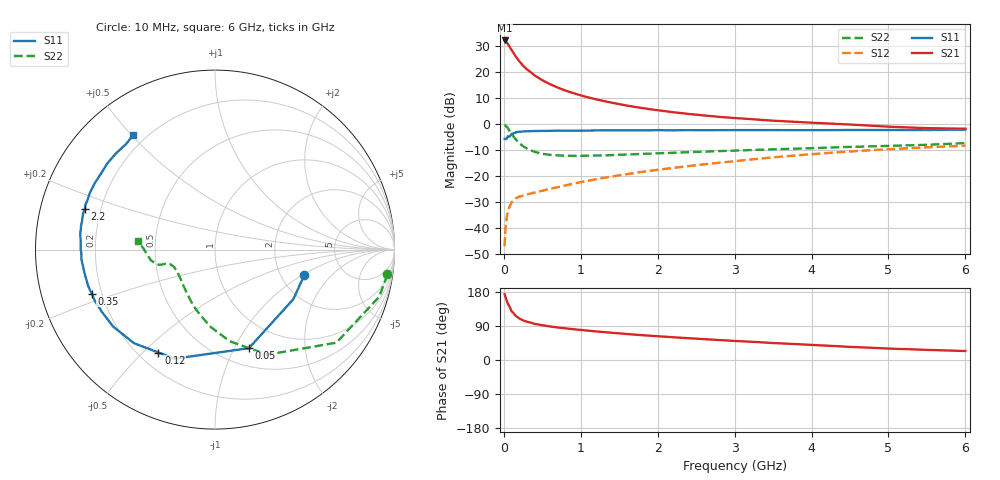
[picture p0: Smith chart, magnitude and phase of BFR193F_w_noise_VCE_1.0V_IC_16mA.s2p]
! Infineon Technologies  Discrete & RF Semiconductors
! BFR193F
! VCE =  1.0 V,  IC =  16 mA
! Common Emitter S-Parameters:  Jan 2017
# GHz  S  MA  R  50
!  f  S11  S21  S12  S22
! GHz  MAG  ANG  MAG  ANG  MAG  ANG  MAG  ANG
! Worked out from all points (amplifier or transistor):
!   77 points, 10 MHz to 6 GHz, reference 50 ohm
!   highest |S21| = 32.3 dB at 10 MHz (marker M1)
!   |S21| within 3 dB of that: start of sweep to 86.17 MHz
!   unconditionally stable (mu >= 1): 1.286 GHz to 3.06 GHz
!   at 130 MHz: K = 0.26, MSG = 28.3 dB, |S12| = -29.3 dB
!   at 2.2 GHz: K = 1.05, MAG = 9.4 dB, |S12| = -16.9 dB
!   at 6 GHz: K = 0.90, MSG = 3.3 dB, |S12| = -8.3 dB
!   lowest NFmin = 0.97 dB at 450 MHz
!   S11 on the Smith chart (normalised r, x): 10 MHz: 2.68, -1.05; 50 MHz: 0.69, -1.15; 120 MHz: 0.28, -0.56; 350 MHz: 0.16, -0.17; 2.2 GHz: 0.14, +0.15; 6 GHz: 0.15, +0.50
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0.01  0.5178 -16.0  41.14 173.7  0.0044 86.1  0.9708 -8.2
0.02  0.5165 -32.4  40.15 166.6  0.009 79.9  0.952 -16.0
0.05  0.5808 -71.0  35.89 149.0  0.0206 63.3  0.8522 -37.5
0.1  0.6481 -110.3  27.09 128.8  0.0307 49.3  0.6534 -63.6
0.12  0.6543 -118.8  24.39 124.9  0.033 46.7  0.5926 -69.6
0.15  0.6897 -130.9  20.63 117.2  0.0365 43.4  0.5169 -80.9
0.2  0.7113 -142.9  16.37 109.7  0.0398 39.5  0.4327 -93.0
0.25  0.7192 -151.0  13.44 104.7  0.0416 39.4  0.3732 -102.8
0.3  0.7276 -156.6  11.41 101.0  0.0438 39.6  0.338 -110.4
0.35  0.7298 -160.4  10.04 98.6  0.0457 41.1  0.3129 -115.9
0.4  0.7352 -164.1  8.699 95.4  0.0477 42.4  0.2911 -122.3
0.5  0.7379 -169.0  7.028 91.7  0.0516 45.0  0.2675 -130.9
0.6  0.7413 -172.7  5.897 88.5  0.0563 47.8  0.2548 -137.5
0.8  0.7442 -178.1  4.445 83.6  0.0657 52.5  0.2453 -146.7
1.1  0.7503 176.1  3.265 77.3  0.0806 57.7  0.2462 -154.3
1.6  0.758 169.2  2.279 68.6  0.1081 62.4  0.2587 -161.1
2.1  0.7607 163.8  1.773 61.4  0.1367 64.6  0.2761 -163.3
2.2  0.7594 162.8  1.695 60.0  0.1425 64.9  0.279 -163.4
3.1  0.765 154.6  1.28 49.3  0.1991 65.4  0.3113 -164.3
4.1  0.7641 145.1  1.047 38.8  0.269 62.2  0.3465 -168.0
5.1  0.7688 134.6  0.88 29.5  0.3328 56.7  0.383 -177.1
6  0.7837 125.7  0.814 23.7  0.3827 51.4  0.4297 173.7
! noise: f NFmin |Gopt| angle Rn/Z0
0.45  0.97  0.28  157  0.06
0.9  1.06  0.38  161  0.06
1.9  1.7  0.58  -173  0.06
2.4  2  0.61  -163  0.09
